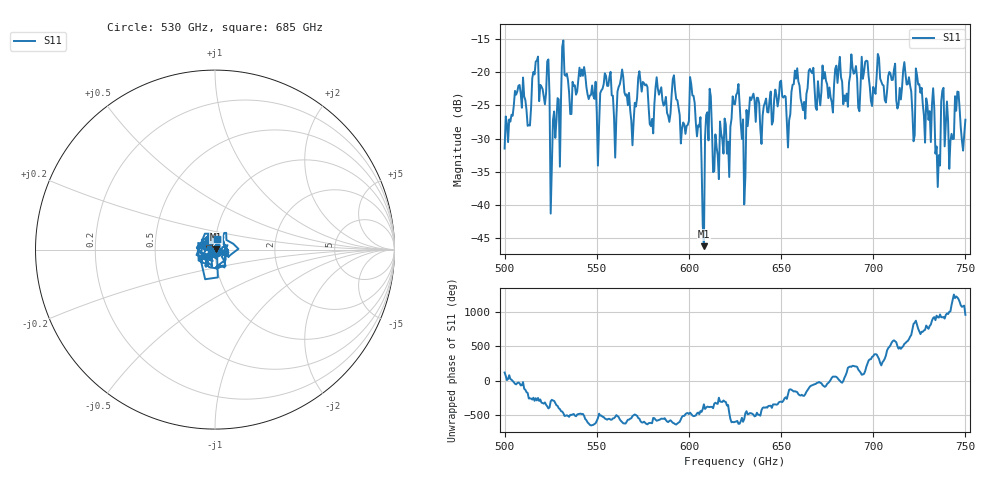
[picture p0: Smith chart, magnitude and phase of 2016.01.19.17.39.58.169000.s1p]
!Created with skrf (http://scikit-rf.org).
# GHz S RI R 50.0
!freq ReS11 ImS11
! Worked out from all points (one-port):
!   401 points, 500 GHz to 750 GHz, reference 50 ohm
!   lowest |S11| = -46.2 dB at 608.1 GHz (marker M1), VSWR 1.01, Z = 50.5 + j0.168 ohm
!   |S11| at or under -10 dB: start of sweep to end of sweep
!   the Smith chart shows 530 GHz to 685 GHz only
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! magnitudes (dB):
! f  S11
! 500 GHz  -31.5
! 506.9 GHz  -22.9
! 513.1 GHz  -28.0
! 516.9 GHz  -18.4
! 523.1 GHz  -18.3
! 526.2 GHz  -27.2
! 531.2 GHz  -16.1
! 551.2 GHz  -28.0
! 556.2 GHz  -22.0
! 559.4 GHz  -26.8
! 562.5 GHz  -21.8
! 569.4 GHz  -31.0
! 573.8 GHz  -21.4
! 593.8 GHz  -24.2
! 601.9 GHz  -23.5
! 608.1 GHz  -46.2
! 610.6 GHz  -30.3
! 615 GHz  -31.3
! 625 GHz  -24.8
! 629.4 GHz  -27.1
! 634.4 GHz  -23.7
! 656.2 GHz  -21.9
! 687.5 GHz  -20.5
! 718.8 GHz  -21.8
! 731.9 GHz  -24.8
! 735 GHz  -37.3
! 738.1 GHz  -22.3
! 750 GHz  -27.2
